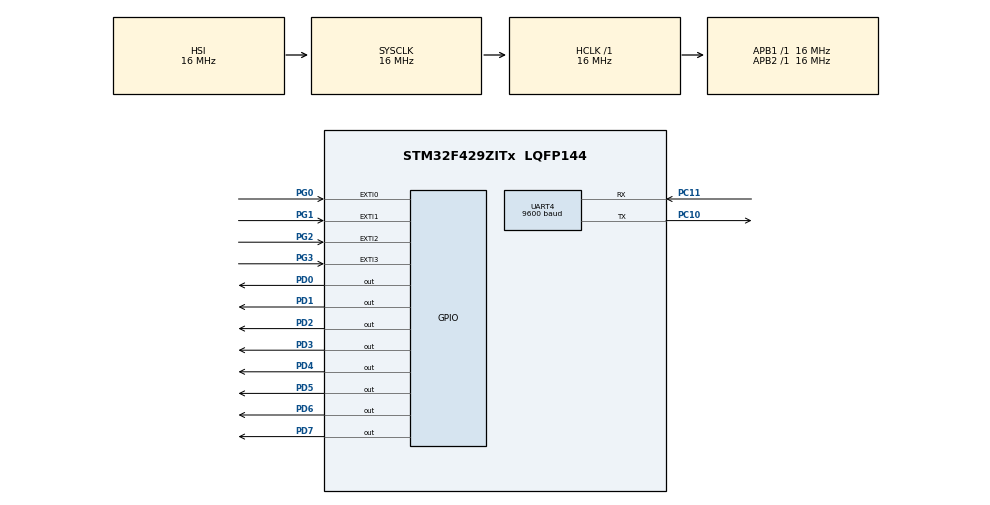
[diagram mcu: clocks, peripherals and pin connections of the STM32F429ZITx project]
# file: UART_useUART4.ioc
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Mcu.Family=STM32F4
Mcu.Name=STM32F429ZITx
Mcu.Package=LQFP144
NVIC.EXTI0_IRQn=true\:0\:0\:false\:false\:true\:true\:true\:true
NVIC.EXTI1_IRQn=true\:0\:0\:false\:false\:true\:true\:true\:true
NVIC.EXTI2_IRQn=true\:0\:0\:false\:false\:true\:true\:true\:true
NVIC.EXTI3_IRQn=true\:0\:0\:false\:false\:true\:true\:true\:true
NVIC.PriorityGroup=NVIC_PRIORITYGROUP_4
NVIC.UART4_IRQn=true\:0\:0\:false\:false\:true\:true\:true\:true
PA13.Mode=Serial_Wire
PA13.Signal=SYS_JTMS-SWDIO
PA14.Mode=Serial_Wire
PA14.Signal=SYS_JTCK-SWCLK
PC10.Mode=Asynchronous
PC10.Signal=UART4_TX
PC11.Mode=Asynchronous
PC11.Signal=UART4_RX
PD0.GPIO_ModeDefaultOutputPP=GPIO_MODE_OUTPUT_PP
PD0.GPIO_PuPd=GPIO_PULLUP
PD0.GPIO_Speed=GPIO_SPEED_FREQ_HIGH
PD0.PinState=GPIO_PIN_RESET
PD0.Signal=GPIO_Output
PD1.GPIO_ModeDefaultOutputPP=GPIO_MODE_OUTPUT_PP
PD1.GPIO_PuPd=GPIO_PULLUP
PD1.GPIO_Speed=GPIO_SPEED_FREQ_HIGH
PD1.PinState=GPIO_PIN_RESET
PD1.Signal=GPIO_Output
PD2.GPIO_ModeDefaultOutputPP=GPIO_MODE_OUTPUT_PP
PD2.GPIO_PuPd=GPIO_PULLUP
PD2.GPIO_Speed=GPIO_SPEED_FREQ_HIGH
PD2.PinState=GPIO_PIN_RESET
PD2.Signal=GPIO_Output
PD3.GPIO_ModeDefaultOutputPP=GPIO_MODE_OUTPUT_PP
PD3.GPIO_PuPd=GPIO_PULLUP
PD3.GPIO_Speed=GPIO_SPEED_FREQ_HIGH
PD3.PinState=GPIO_PIN_RESET
PD3.Signal=GPIO_Output
PD4.GPIO_ModeDefaultOutputPP=GPIO_MODE_OUTPUT_PP
PD4.GPIO_PuPd=GPIO_PULLUP
PD4.GPIO_Speed=GPIO_SPEED_FREQ_HIGH
PD4.PinState=GPIO_PIN_RESET
PD4.Signal=GPIO_Output
PD5.GPIO_ModeDefaultOutputPP=GPIO_MODE_OUTPUT_PP
PD5.GPIO_PuPd=GPIO_PULLUP
PD5.GPIO_Speed=GPIO_SPEED_FREQ_HIGH
PD5.PinState=GPIO_PIN_RESET
PD5.Signal=GPIO_Output
PD6.GPIO_ModeDefaultOutputPP=GPIO_MODE_OUTPUT_PP
PD6.GPIO_PuPd=GPIO_PULLUP
PD6.GPIO_Speed=GPIO_SPEED_FREQ_HIGH
PD6.PinState=GPIO_PIN_RESET
PD6.Signal=GPIO_Output
PD7.GPIO_ModeDefaultOutputPP=GPIO_MODE_OUTPUT_PP
PD7.GPIO_PuPd=GPIO_PULLUP
PD7.GPIO_Speed=GPIO_SPEED_FREQ_HIGH
PD7.PinState=GPIO_PIN_RESET
PD7.Signal=GPIO_Output
PG0.GPIO_ModeDefaultEXTI=GPIO_MODE_IT_FALLING
PG0.GPIO_PuPd=GPIO_NOPULL
PG0.Signal=GPXTI0
PG1.GPIO_ModeDefaultEXTI=GPIO_MODE_IT_FALLING
PG1.GPIO_PuPd=GPIO_NOPULL
PG1.Signal=GPXTI1
PG2.GPIO_ModeDefaultEXTI=GPIO_MODE_IT_FALLING
PG2.GPIO_PuPd=GPIO_NOPULL
PG2.Signal=GPXTI2
PG3.GPIO_ModeDefaultEXTI=GPIO_MODE_IT_FALLING
PG3.GPIO_PuPd=GPIO_NOPULL
PG3.Signal=GPXTI3
ProjectManager.HeapSize=0x200
ProjectManager.StackSize=0x400
ProjectManager.TargetToolchain=STM32CubeIDE
RCC.AHBFreq_Value=16000000
RCC.APB1Freq_Value=16000000
RCC.APB2Freq_Value=16000000
RCC.CortexFreq_Value=16000000
RCC.HSE_VALUE=25000000
RCC.HSI_VALUE=16000000
RCC.LSE_VALUE=32768
RCC.SYSCLKFreq_VALUE=16000000
RCC.VCOOutputFreq_Value=192000000
UART4.BaudRate=9600
UART4.VirtualMode=Asynchronous
board=custom

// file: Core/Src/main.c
/* USER CODE BEGIN Header */
/**
  ******************************************************************************
  * @file           : main.c
  * @brief          : Main program body
  ******************************************************************************
  * @attention
  *
  * Copyright (c) 2023 STMicroelectronics.
  * All rights reserved.
  *
  * This software is licensed under terms that can be found in the LICENSE file
  * in the root directory of this software component.
  * If no LICENSE file comes with this software, it is provided AS-IS.
  *
  ******************************************************************************
  */
/* USER CODE END Header */
#include "main.h"

/* USER CODE BEGIN PD */

#define TxBufferSize (countof(TxBuffer) - 1)
#define TxBufferSize_4 (countof(TxBuffer_4) - 1)
#define RxBufferSize 0xFF
#define countof(a) (sizeof(a) / sizeof(*(a)))

/* USER CODE END PD */

UART_HandleTypeDef huart4;

/* USER CODE BEGIN PV */

uint8_t TxBuffer[] = "\n\rUART Example (Transmission Success !!)\n\r\n\r";
uint8_t TxBuffer_L[] = "L";
uint8_t TxBuffer_H[] = "H";
// uint8_t RxBuffer_UART3[RxBufferSize];
uint8_t RxBuffer_UART4[] = "0";

/* USER CODE END PV */

void SystemClock_Config(void);
static void MX_GPIO_Init(void);
static void MX_UART4_Init(void);
/* USER CODE BEGIN PFP */

void LED_OnOff(int, int);

/* USER CODE END PFP */

int main(void)
{

  /* MCU Configuration--------------------------------------------------------*/

  /* Reset of all peripherals, Initializes the Flash interface and the Systick. */
  HAL_Init();

  /* Configure the system clock */
  SystemClock_Config();

  /* Initialize all configured peripherals */
  MX_GPIO_Init();
  MX_UART4_Init();
  /* USER CODE BEGIN 2 */

  LED_OnOff(LED_ALL, 500);
  HAL_UART_Transmit(&huart4, (uint8_t*)TxBuffer, TxBufferSize , 0xFFFF);

  /* USER CODE END 2 */

  /* Infinite loop */
  /* USER CODE BEGIN WHILE */
  while (1)
  {
	  // --- (1) Falling 방식 ------ //
	  // UART4�? H �? 보낸?��
	  HAL_UART_Transmit(&huart4, (uint8_t*)TxBuffer_H, 1, 0xFF);
	  HAL_Delay(10);
	  // echoback?�� 받아 -> H ?���? LED �? 모두 On, L ?���? Off ?��?��.
	  // 그리�? PC (UART3)�? echoback 값을 보낸?��.
	  if( HAL_UART_Receive(&huart4, (uint8_t*)RxBuffer_UART4, 1, 0xFF) == HAL_OK ) {
	  //HAL_UART_Transmit(&huart3, (uint8_t*)RxBuffer_UART4, 1, 0xFF);
	  if ( strcmp(RxBuffer_UART4, "H") == 0 ) HAL_GPIO_WritePin(GPIO_LED, LED_ALL, GPIO_PIN_SET);
	  else if ( strcmp(RxBuffer_UART4, "L") == 0 ) HAL_GPIO_WritePin(GPIO_LED, LED_ALL, GPIO_PIN_RESET);
	  }
	  HAL_Delay(100);
	  // UART4�? L ?�� 보낸?��
	   HAL_UART_Transmit(&huart4, (uint8_t*)TxBuffer_L, 1, 0xFF);
	  HAL_Delay(10);
	  // echoback?�� 받아 -> H ?���? LED �? 모두 On, L ?���? Off ?��?��.
	  // 그리�? PC (UART3)�? echoback 값을 보낸?��
	   if( HAL_UART_Receive(&huart4, (uint8_t*)RxBuffer_UART4, 1, 0xFF) == HAL_OK ) {
	  //HAL_UART_Transmit(&huart3, (uint8_t*)RxBuffer_UART4, 1, 0xFF);
	  if ( strcmp(RxBuffer_UART4, "H") == 0 ) HAL_GPIO_WritePin(GPIO_LED, LED_ALL, GPIO_PIN_SET);
	  else if ( strcmp(RxBuffer_UART4, "L") == 0 ) HAL_GPIO_WritePin(GPIO_LED, LED_ALL, GPIO_PIN_RESET);
	  }
	  HAL_Delay(500);
	  // --- (1) End : Falling 방식 ------ //;
    /* USER CODE END WHILE */

  }
}

void SystemClock_Config(void)
{
  RCC_OscInitTypeDef RCC_OscInitStruct = {0};
  RCC_ClkInitTypeDef RCC_ClkInitStruct = {0};

  /** Configure the main internal regulator output voltage
  */
  __HAL_RCC_PWR_CLK_ENABLE();
  __HAL_PWR_VOLTAGESCALING_CONFIG(PWR_REGULATOR_VOLTAGE_SCALE3);

  /** Initializes the RCC Oscillators according to the specified parameters
  * in the RCC_OscInitTypeDef structure.
  */
  RCC_OscInitStruct.OscillatorType = RCC_OSCILLATORTYPE_HSI;
  RCC_OscInitStruct.HSIState = RCC_HSI_ON;
  RCC_OscInitStruct.HSICalibrationValue = RCC_HSICALIBRATION_DEFAULT;
  RCC_OscInitStruct.PLL.PLLState = RCC_PLL_NONE;
  if (HAL_RCC_OscConfig(&RCC_OscInitStruct) != HAL_OK)
  {
    Error_Handler();
  }

  /** Initializes the CPU, AHB and APB buses clocks
  */
  RCC_ClkInitStruct.ClockType = RCC_CLOCKTYPE_HCLK|RCC_CLOCKTYPE_SYSCLK
                              |RCC_CLOCKTYPE_PCLK1|RCC_CLOCKTYPE_PCLK2;
  RCC_ClkInitStruct.SYSCLKSource = RCC_SYSCLKSOURCE_HSI;
  RCC_ClkInitStruct.AHBCLKDivider = RCC_SYSCLK_DIV1;
  RCC_ClkInitStruct.APB1CLKDivider = RCC_HCLK_DIV1;
  RCC_ClkInitStruct.APB2CLKDivider = RCC_HCLK_DIV1;

  if (HAL_RCC_ClockConfig(&RCC_ClkInitStruct, FLASH_LATENCY_0) != HAL_OK)
  {
    Error_Handler();
  }
}

static void MX_UART4_Init(void)
{

  huart4.Instance = UART4;
  huart4.Init.BaudRate = 9600;
  huart4.Init.WordLength = UART_WORDLENGTH_8B;
  huart4.Init.StopBits = UART_STOPBITS_1;
  huart4.Init.Parity = UART_PARITY_NONE;
  huart4.Init.Mode = UART_MODE_TX_RX;
  huart4.Init.HwFlowCtl = UART_HWCONTROL_NONE;
  huart4.Init.OverSampling = UART_OVERSAMPLING_16;
  if (HAL_UART_Init(&huart4) != HAL_OK)
  {
    Error_Handler();
  }

}

static void MX_GPIO_Init(void)
{
  GPIO_InitTypeDef GPIO_InitStruct = {0};

  /* GPIO Ports Clock Enable */
  __HAL_RCC_GPIOG_CLK_ENABLE();
  __HAL_RCC_GPIOA_CLK_ENABLE();
  __HAL_RCC_GPIOC_CLK_ENABLE();
  __HAL_RCC_GPIOD_CLK_ENABLE();

  /*Configure GPIO pin Output Level */
  HAL_GPIO_WritePin(GPIOD, GPIO_PIN_0|GPIO_PIN_1|GPIO_PIN_2|GPIO_PIN_3
                          |GPIO_PIN_4|GPIO_PIN_5|GPIO_PIN_6|GPIO_PIN_7, GPIO_PIN_RESET);

  /*Configure GPIO pins : PG0 PG1 PG2 PG3 */
  GPIO_InitStruct.Pin = GPIO_PIN_0|GPIO_PIN_1|GPIO_PIN_2|GPIO_PIN_3;
  GPIO_InitStruct.Mode = GPIO_MODE_IT_FALLING;
  GPIO_InitStruct.Pull = GPIO_NOPULL;
  HAL_GPIO_Init(GPIOG, &GPIO_InitStruct);

  /*Configure GPIO pins : PD0 PD1 PD2 PD3
                           PD4 PD5 PD6 PD7 */
  GPIO_InitStruct.Pin = GPIO_PIN_0|GPIO_PIN_1|GPIO_PIN_2|GPIO_PIN_3
                          |GPIO_PIN_4|GPIO_PIN_5|GPIO_PIN_6|GPIO_PIN_7;
  GPIO_InitStruct.Mode = GPIO_MODE_OUTPUT_PP;
  GPIO_InitStruct.Pull = GPIO_PULLUP;
  GPIO_InitStruct.Speed = GPIO_SPEED_FREQ_HIGH;
  HAL_GPIO_Init(GPIOD, &GPIO_InitStruct);

  /* EXTI interrupt init*/
  HAL_NVIC_SetPriority(EXTI0_IRQn, 0, 0);
  HAL_NVIC_EnableIRQ(EXTI0_IRQn);

  HAL_NVIC_SetPriority(EXTI1_IRQn, 0, 0);
  HAL_NVIC_EnableIRQ(EXTI1_IRQn);

  HAL_NVIC_SetPriority(EXTI2_IRQn, 0, 0);
  HAL_NVIC_EnableIRQ(EXTI2_IRQn);

  HAL_NVIC_SetPriority(EXTI3_IRQn, 0, 0);
  HAL_NVIC_EnableIRQ(EXTI3_IRQn);

}

/* USER CODE BEGIN 4 */

void LED_OnOff(int led, int interval)
{
	HAL_GPIO_WritePin(GPIO_LED, led, GPIO_PIN_SET );
	HAL_Delay(interval);
	HAL_GPIO_WritePin(GPIO_LED, led, GPIO_PIN_RESET );
}

/* USER CODE END 4 */

void Error_Handler(void)
{
  __disable_irq();
  while (1)
  {
  }
}
